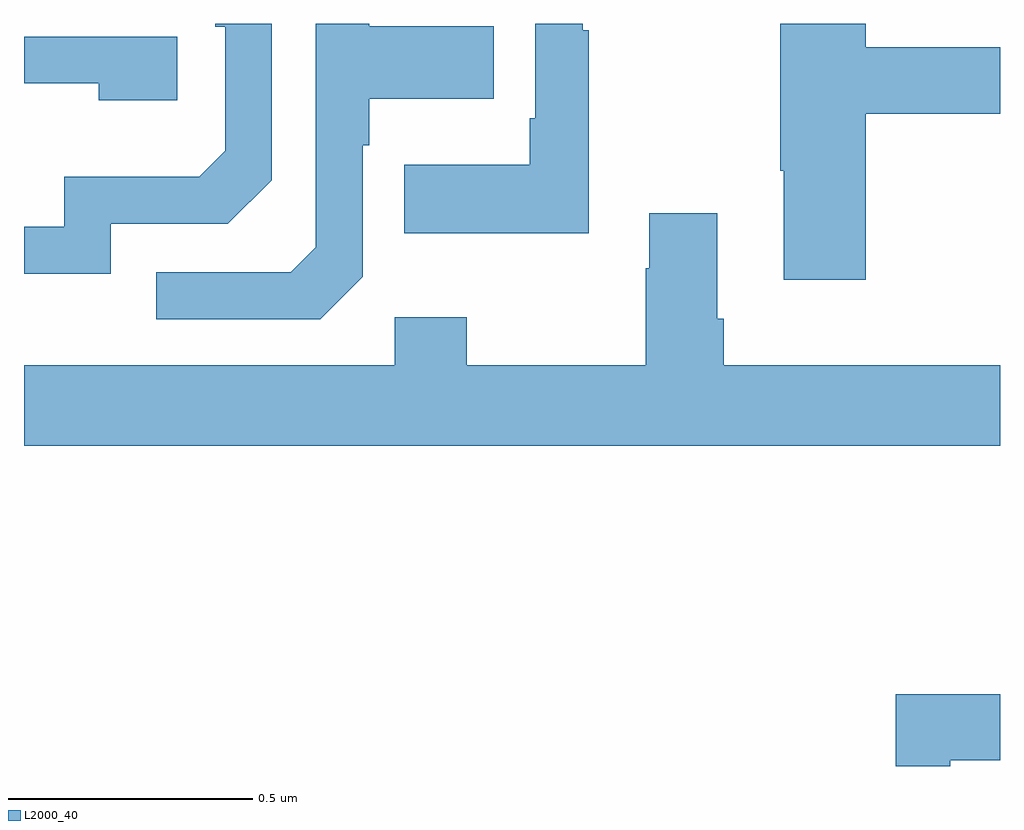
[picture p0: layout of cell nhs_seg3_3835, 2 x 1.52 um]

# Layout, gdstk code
import gdstk
lib = gdstk.Library(unit=1e-6, precision=1e-09)
def P(c, l, *ps):  # polygons
    for p in ps: c.add(gdstk.Polygon(p, *l))
L2000_40 = (2000, 40)

nhs_seg3_3835 = lib.new_cell('nhs_seg3_3835')
P(nhs_seg3_3835, L2000_40, [(159.725,748.216),(160,748.216),(160,748.352),(159.725,748.352),(159.725,748.4),(159.55,748.4),(159.55,748.099),(159.557,748.099),(159.557,747.876),(159.725,747.876)],
  [(159.157,748.387),(159.145,748.387),(159.145,748.4),(159.048,748.4),(159.048,748.207),(159.036,748.207),(159.036,748.111),(158.779,748.111),(158.779,747.971),(159.157,747.971)],
  [(158.178,747.99),(158.418,747.99),(158.508,748.08),(158.508,748.4),(158.392,748.4),(158.392,748.394),(158.412,748.394),(158.412,748.14),(158.359,748.087),(158.082,748.087),(158.082,747.984),(158,747.984),(158,747.888),(158.178,747.888)],
  [(158.694,747.882),(158.694,748.151),(158.707,748.151),(158.707,748.247),(158.963,748.247),(158.963,748.395),(158.707,748.395),(158.707,748.4),(158.598,748.4),(158.598,747.942),(158.547,747.891),(158.271,747.891),(158.271,747.795),(158.607,747.795)],
  [(158.314,748.374),(158,748.374),(158,748.278),(158.153,748.278),(158.153,748.244),(158.314,748.244)],
  [(160,747.7),(159.434,747.7),(159.434,747.796),(159.421,747.796),(159.421,748.012),(159.281,748.012),(159.281,747.899),(159.274,747.899),(159.274,747.7),(158.907,747.7),(158.907,747.799),(158.76,747.799),(158.76,747.7),(158,747.7),(158,747.536),(160,747.536)],
  [(159.898,746.891),(160,746.891),(160,747.026),(159.786,747.026),(159.786,746.879),(159.898,746.879)])

lib.write_gds('nhs_seg3_3835.gds')
